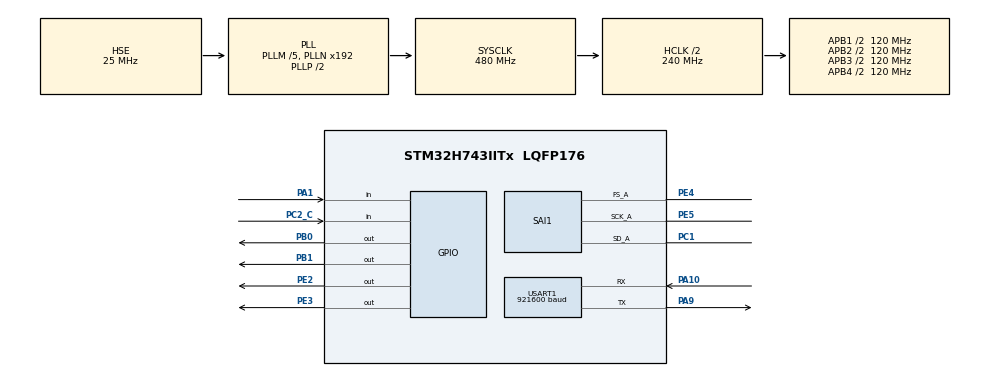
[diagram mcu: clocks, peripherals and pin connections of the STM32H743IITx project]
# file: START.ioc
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CORTEX_M7.default_mode_Activation=1
Dma.Request0=SAI1_A
Dma.SAI1_A.0.Direction=DMA_PERIPH_TO_MEMORY
Dma.SAI1_A.0.EventEnable=DISABLE
Dma.SAI1_A.0.FIFOMode=DMA_FIFOMODE_DISABLE
Dma.SAI1_A.0.Instance=DMA1_Stream0
Dma.SAI1_A.0.MemDataAlignment=DMA_MDATAALIGN_HALFWORD
Dma.SAI1_A.0.MemInc=DMA_MINC_ENABLE
Dma.SAI1_A.0.Mode=DMA_CIRCULAR
Dma.SAI1_A.0.PeriphDataAlignment=DMA_PDATAALIGN_HALFWORD
Dma.SAI1_A.0.PeriphInc=DMA_PINC_DISABLE
Dma.SAI1_A.0.Polarity=HAL_DMAMUX_REQ_GEN_RISING
Dma.SAI1_A.0.Priority=DMA_PRIORITY_VERY_HIGH
Dma.SAI1_A.0.RequestNumber=1
Dma.SAI1_A.0.SignalID=NONE
Dma.SAI1_A.0.SyncEnable=DISABLE
Dma.SAI1_A.0.SyncPolarity=HAL_DMAMUX_SYNC_NO_EVENT
Dma.SAI1_A.0.SyncRequestNumber=1
Dma.SAI1_A.0.SyncSignalID=NONE
FREERTOS.Tasks01=defaultTask,24,256,StartDefaultTask,Default,NULL,Dynamic,NULL,NULL
FREERTOS.configMINIMAL_STACK_SIZE=128
FREERTOS.configTOTAL_HEAP_SIZE=65536
Mcu.Family=STM32H7
Mcu.Name=STM32H743IITx
Mcu.Package=LQFP176
NVIC.DMA1_Stream0_IRQn=true\:5\:0\:false\:false\:true\:true\:false\:true\:true
NVIC.PriorityGroup=NVIC_PRIORITYGROUP_4
NVIC.SAI1_IRQn=true\:5\:0\:false\:false\:true\:true\:true\:true\:true
NVIC.TIM6_DAC_IRQn=true\:15\:0\:false\:false\:true\:false\:false\:true\:true
NVIC.TimeBase=TIM6_DAC_IRQn
NVIC.TimeBaseIP=TIM6
PA1.GPIO_PuPd=GPIO_PULLDOWN
PA1.Signal=GPIO_Input
PA10.Mode=Asynchronous
PA10.Signal=USART1_RX
PA13\ (JTMS/SWDIO).Mode=Serial_Wire
PA13\ (JTMS/SWDIO).Signal=DEBUG_JTMS-SWDIO
PA14\ (JTCK/SWCLK).Mode=Serial_Wire
PA14\ (JTCK/SWCLK).Signal=DEBUG_JTCK-SWCLK
PA9.Mode=Asynchronous
PA9.Signal=USART1_TX
PB0.Signal=GPIO_Output
PB1.Signal=GPIO_Output
PC1.GPIO_PuPd=GPIO_NOPULL
PC1.GPIO_Speed=GPIO_SPEED_FREQ_VERY_HIGH
PC1.Mode=SAI_A_Master
PC1.Signal=SAI1_SD_A
PC14-OSC32_IN\ (OSC32_IN).Mode=LSE-External-Oscillator
PC14-OSC32_IN\ (OSC32_IN).Signal=RCC_OSC32_IN
PC15-OSC32_OUT\ (OSC32_OUT).Mode=LSE-External-Oscillator
PC15-OSC32_OUT\ (OSC32_OUT).Signal=RCC_OSC32_OUT
PC2_C.GPIO_PuPd=GPIO_PULLDOWN
PC2_C.Signal=GPIO_Input
PE2.GPIO_ModeDefaultOutputPP=GPIO_MODE_OUTPUT_OD
PE2.GPIO_PuPd=GPIO_PULLUP
PE2.GPIO_Speed=GPIO_SPEED_FREQ_VERY_HIGH
PE2.PinState=GPIO_PIN_SET
PE2.Signal=GPIO_Output
PE3.GPIO_ModeDefaultOutputPP=GPIO_MODE_OUTPUT_OD
PE3.GPIO_PuPd=GPIO_PULLUP
PE3.GPIO_Speed=GPIO_SPEED_FREQ_VERY_HIGH
PE3.PinState=GPIO_PIN_SET
PE3.Signal=GPIO_Output
PE4.GPIO_Speed=GPIO_SPEED_FREQ_VERY_HIGH
PE4.Mode=SAI_A_Master
PE4.Signal=SAI1_FS_A
PE5.GPIO_Speed=GPIO_SPEED_FREQ_VERY_HIGH
PE5.Mode=SAI_A_Master
PE5.Signal=SAI1_SCK_A
PH0-OSC_IN\ (PH0).Mode=HSE-External-Oscillator
PH0-OSC_IN\ (PH0).Signal=RCC_OSC_IN
PH1-OSC_OUT\ (PH1).Mode=HSE-External-Oscillator
PH1-OSC_OUT\ (PH1).Signal=RCC_OSC_OUT
ProjectManager.HeapSize=0x200
ProjectManager.StackSize=0x400
ProjectManager.TargetToolchain=MDK-ARM V5.32
RCC.ADCFreq_Value=12272727.272727273
RCC.APB1Freq_Value=120000000
RCC.APB2Freq_Value=120000000
RCC.APB3Freq_Value=120000000
RCC.APB4Freq_Value=120000000
RCC.CortexFreq_Value=480000000
RCC.D1PPRE=RCC_APB3_DIV2
RCC.D2PPRE1=RCC_APB1_DIV2
RCC.D2PPRE2=RCC_APB2_DIV2
RCC.D3PPRE=RCC_APB4_DIV2
RCC.DIVM1=5
RCC.DIVM2=5
RCC.DIVM3=2
RCC.DIVN1=192
RCC.DIVN2=108
RCC.DIVN3=12
RCC.DIVP2=44
RCC.DIVP3=1
RCC.DIVQ1=4
RCC.HCLKFreq_Value=240000000
RCC.HPRE=RCC_HCLK_DIV2
RCC.HSE_VALUE=25000000
RCC.PLL2FRACN=0
RCC.PLL3FRACN=0
RCC.PLLFRACN=0
RCC.PLLSourceVirtual=RCC_PLLSOURCE_HSE
RCC.PWR_Regulator_Voltage_Scale=PWR_REGULATOR_VOLTAGE_SCALE0
RCC.SAI1CLockSelection=RCC_SAI1CLKSOURCE_PLL2
RCC.SAI23CLockSelection=RCC_SAI23CLKSOURCE_PLL3
RCC.SYSCLKFreq_VALUE=480000000
RCC.SYSCLKSource=RCC_SYSCLKSOURCE_PLLCLK
RCC.USBFreq_Value=240000000
SAI1.AudioFrequency-SAI_A_Master=SAI_AUDIO_FREQUENCY_48K
SAI1.AudioMode-SAI_A_Master=SAI_MODEMASTER_RX
SAI1.ClockStrobing-SAI_A_Master=SAI_CLOCKSTROBING_FALLINGEDGE
SAI1.DataSize-SAI_A_Master=SAI_DATASIZE_16
SAI1.ErrorAudioFreq-SAI_A_Master=-0.12 %
SAI1.FSOffset-SAI_A_Master=SAI_FS_BEFOREFIRSTBIT
SAI1.FSPolarity-SAI_A_Master=SAI_FS_ACTIVE_HIGH
SAI1.FrameLength-SAI_A_Master=256
SAI1.Instance-SAI_A_Master=SAI$Index_Block_A
SAI1.MClockEnable-SAI_A_Master=SAI_MASTERCLOCK_DISABLE
SAI1.RealAudioFreq-SAI_A_Master=47.94 KHz
SAI1.SlotActive-SAI_A_Master=0x0000FFFF
SAI1.SlotNumber-SAI_A_Master=16
SAI1.SlotSize-SAI_A_Master=SAI_SLOTSIZE_DATASIZE
SAI1.VirtualMode-SAI_A_Master=VM_MASTER
SAI1.VirtualSlotActive-SAI_A_Master=SAI_SLOTACTIVE_ALL
USART1.BaudRate=921600
USART1.VirtualMode-Asynchronous=VM_ASYNC
VP_FREERTOS_VS_CMSIS_V2.Mode=CMSIS_V2
VP_MEMORYMAP_VS_MEMORYMAP.Mode=CurAppReg
VP_SYS_VS_tim6.Mode=TIM6
board=custom

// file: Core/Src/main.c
/* USER CODE BEGIN Header */
/**
 * @file    main.c
 * @brief   STM32H7 声学相机主控入口
 * @details 负责硬件初始化、上电自检、RTOS 启动及关键中断回调注册。
 *
 * 系统架构：
 * - MCU: STM32H743IIT6 @ 480MHz
 * - 音频前端: 2×PCMD3180 (16路 PDM 麦克风)
 * - 显示: 800×480 RGB LCD (LTDC)
 * - 内存: 32MB SDRAM
 * - RTOS: FreeRTOS
 *
 * 启动流程：
 * 1. MPU 配置 (内存保护)
 * 2. HAL 初始化
 * 3. 系统时钟配置 (480MHz)
 * 4. SDRAM 初始化
 * 5. 外设初始化 (GPIO, DMA, USART, SAI)
 * 6. 显示模块初始化
 * 7. 上电自检 (SDRAM 测试)
 * 8. FreeRTOS 启动
 *
 * 主要任务：
 * - PCMD3180InitTask: 一次性初始化任务
 * - Audio_Pipeline_Task: 音频处理流水线
 * - UI_Display_Task: UI 显示任务
 * - StartDefaultTask: 默认空闲任务
 */
/* USER CODE END Header */

#include "main.h"
#include "cmsis_os.h"
#include "dma.h"
#include "sai.h"
#include "usart.h"
#include "gpio.h"

/* USER CODE BEGIN Includes */
#include <stdio.h>
#include "mpu.h"
#include "sdram.h"
#include "app_main_task.h"
#include "app_display.h"
/* USER CODE END Includes */

/* USER CODE BEGIN PD */
/** @brief 启用上电自检 (SDRAM 测试) */
#define ENABLE_BOOT_TESTS 1u
/* USER CODE END PD */

/* USER CODE BEGIN PV */
/** @brief 调试计数：用于观测音频处理帧推进情况 */
volatile int16_t found_val = 0;

/** @brief DMA 帧事件序号（ISR 侧递增，用于丢帧诊断） */
volatile uint32_t g_audio_frame_seq_isr = 0u;
/* USER CODE END PV */

void SystemClock_Config(void);
static void MPU_Config(void);
void MX_FREERTOS_Init(void);

/* USER CODE BEGIN 0 */

/**
 * @brief 使能 I-Cache/D-Cache，并执行同步屏障。
 * @note  仅在对应 Cache 尚未开启时执行开启操作。
 */
static void cpu_cache_enable(void)
{
  if ((SCB->CCR & SCB_CCR_IC_Msk) == 0u)
  {
    SCB_EnableICache();
  }
  if ((SCB->CCR & SCB_CCR_DC_Msk) == 0u)
  {
    SCB_EnableDCache();
  }
  __DSB();
  __ISB();
}

/**
 * @brief   SDRAM 采样读写自检
 * @details 以 4KB 步长对 32MB SDRAM 进行写入/回读一致性校验。
 *
 * 策略说明：
 * - 测试空间：32MB（8M 个 32-bit 字）
 * - 采样步长：1024 字（4KB）
 * - 写入模式：地址索引值
 * - 目标：在可接受启动时延内快速发现 SDRAM 异常
 *
 * @return  0: 测试通过
 *          非 0: 失败字节偏移
 *
 * @note    在 main() 中调用，位于 FreeRTOS 启动前
 */
static uint32_t sdram_test(void)
{
    /* SDRAM 基地址 */
    volatile uint32_t *pSdram = (volatile uint32_t *)BANK5_SDRAM_ADDR;
    uint32_t i;

    /* 32MB / 4B = 8M 个 32-bit 字 */
    const uint32_t test_size = 32u * 1024u * 1024u / 4u;

    /* 步骤 1：按采样步长写入测试模式 */
    for (i = 0u; i < test_size; i += 1024u)
    {
        pSdram[i] = i;
    }

    /* 步骤 2：按相同步长回读校验 */
    for (i = 0u; i < test_size; i += 1024u)
    {
        if (pSdram[i] != i)
        {
            /* 返回失败地址的字节偏移 */
            return i * 4u;
        }
    }

    return 0u;
}

/**
 * @brief   上电自检入口
 * @details 当前仅执行 SDRAM 采样读写测试，并通过串口输出结果。
 *
 * @note    可通过 ENABLE_BOOT_TESTS 控制开关
 * @note    在 main() 中调用，位于 FreeRTOS 启动前
 */
static void app_run_boot_tests(void)
{
#if (ENABLE_BOOT_TESTS != 0u)
    uint32_t sdram_err = sdram_test();

    if (sdram_err == 0u)
    {
        printf("SDRAM Test PASS (32MB @ 0xC0000000)\r\n");
    }
    else
    {
        printf("SDRAM Test FAIL at offset 0x%08lX\r\n", sdram_err);
    }
#endif
}

/* USER CODE END 0 */

/**
 * @brief   应用主入口
 * @details 完成底层硬件初始化后启动 FreeRTOS 调度器。
 *
 * 初始化顺序：
 * 1. MPU 配置 (默认配置，后续会覆盖)
 * 2. HAL 初始化 (中断优先级分组、SysTick)
 * 3. 自定义 MPU 配置 (覆盖默认配置)
 * 4. 系统时钟配置 (480MHz)
 * 5. SDRAM 初始化
 * 6. 外设初始化 (GPIO, DMA, USART, SAI)
 * 7. 显示模块初始化
 * 8. 上电自检
 * 9. FreeRTOS 初始化和启动
 *
 * MPU 配置说明：
 * - MPU_Config() 为 CubeMX 生成的基础配置
 * - App_MPU_Config() 施加工程自定义内存属性
 *
 * 外设顺序说明：
 * - 显示链路先初始化，便于尽早进入可视化状态
 * - SAI 随后初始化，不影响当前启动依赖关系
 *
 * @return  不返回 (FreeRTOS 接管控制权)
 */
int main(void)
{

  /* 步骤 1：应用 CubeMX 默认 MPU 配置 */
  MPU_Config();

  /* 步骤 2：HAL 基础初始化（外设复位、SysTick、NVIC 分组） */
  HAL_Init();

  /* USER CODE BEGIN Init */
  /* 步骤 3：应用工程自定义 MPU 布局并开启 Cache */
  App_MPU_Config();
  cpu_cache_enable();
  /* USER CODE END Init */

  /* 步骤 4：配置系统时钟（SYSCLK 480MHz） */
  SystemClock_Config();

  /* USER CODE BEGIN SysInit */
  /* 步骤 5：初始化外部 SDRAM 控制链路 */
  sdram_init();
  /* USER CODE END SysInit */

  /* 步骤 6：初始化基础外设 */
  MX_GPIO_Init();    /* GPIO 初始化 (LED, 按键等) */
  MX_DMA_Init();     /* DMA 初始化 (SAI DMA) */
  MX_USART1_UART_Init();  /* USART1 初始化 (调试串口) */

  /* 步骤 7：初始化显示链路（LTDC/DMA2D/LCD） */
  App_Display_Init();

  /* 初始化 SAI1 音频接口 */
  MX_SAI1_Init();

  /* USER CODE BEGIN 2 */
  /* 步骤 8：执行上电自检 */
  app_run_boot_tests();

  /* USER CODE END 2 */

  /* 步骤 9：初始化并启动 FreeRTOS */
  osKernelInitialize();

  /* 创建任务、队列、信号量等内核对象 */
  MX_FREERTOS_Init();

  /* 启动调度器，成功后不再返回 */
  osKernelStart();

  /* 正常情况下不会到达这里。
   * LVGL 控件请在 UI 任务中创建，例如 User/App/app_lvgl_ui.c。
   */

  /* Infinite loop */
  while (1)
  {

  }
}

/**
  * @brief 系统时钟配置
  * @retval None
  */
void SystemClock_Config(void)
{
  RCC_OscInitTypeDef RCC_OscInitStruct = {0};
  RCC_ClkInitTypeDef RCC_ClkInitStruct = {0};

  /** 使能电源供电配置更新
  */
  HAL_PWREx_ConfigSupply(PWR_LDO_SUPPLY);

  /** 配置内部稳压器输出电压档位
  */
  __HAL_PWR_VOLTAGESCALING_CONFIG(PWR_REGULATOR_VOLTAGE_SCALE0);

  while(!__HAL_PWR_GET_FLAG(PWR_FLAG_VOSRDY)) {}

  /** 按 RCC_OscInitTypeDef 参数初始化振荡器与 PLL
  */
  RCC_OscInitStruct.OscillatorType = RCC_OSCILLATORTYPE_HSE;
  RCC_OscInitStruct.HSEState = RCC_HSE_ON;
  RCC_OscInitStruct.PLL.PLLState = RCC_PLL_ON;
  RCC_OscInitStruct.PLL.PLLSource = RCC_PLLSOURCE_HSE;
  RCC_OscInitStruct.PLL.PLLM = 5;
  RCC_OscInitStruct.PLL.PLLN = 192;
  RCC_OscInitStruct.PLL.PLLP = 2;
  RCC_OscInitStruct.PLL.PLLQ = 4;  /* PLL1Q = 960/4 = 240 MHz, SDMMC 内核时钟 — 勿改为 1 */
  RCC_OscInitStruct.PLL.PLLR = 2;
  RCC_OscInitStruct.PLL.PLLRGE = RCC_PLL1VCIRANGE_2;
  RCC_OscInitStruct.PLL.PLLVCOSEL = RCC_PLL1VCOWIDE;
  RCC_OscInitStruct.PLL.PLLFRACN = 0;
  if (HAL_RCC_OscConfig(&RCC_OscInitStruct) != HAL_OK)
  {
    Error_Handler();
  }

  /** 初始化 CPU、AHB 与 APB 总线时钟
  */
  RCC_ClkInitStruct.ClockType = RCC_CLOCKTYPE_HCLK|RCC_CLOCKTYPE_SYSCLK
                              |RCC_CLOCKTYPE_PCLK1|RCC_CLOCKTYPE_PCLK2
                              |RCC_CLOCKTYPE_D3PCLK1|RCC_CLOCKTYPE_D1PCLK1;
  RCC_ClkInitStruct.SYSCLKSource = RCC_SYSCLKSOURCE_PLLCLK;
  RCC_ClkInitStruct.SYSCLKDivider = RCC_SYSCLK_DIV1;
  RCC_ClkInitStruct.AHBCLKDivider = RCC_HCLK_DIV2;
  RCC_ClkInitStruct.APB3CLKDivider = RCC_APB3_DIV2;
  RCC_ClkInitStruct.APB1CLKDivider = RCC_APB1_DIV2;
  RCC_ClkInitStruct.APB2CLKDivider = RCC_APB2_DIV2;
  RCC_ClkInitStruct.APB4CLKDivider = RCC_APB4_DIV2;

  if (HAL_RCC_ClockConfig(&RCC_ClkInitStruct, FLASH_LATENCY_4) != HAL_OK)
  {
    Error_Handler();
  }
}

/* USER CODE BEGIN 4 */
/**
 * @brief   在 ISR 中推送音频半帧事件
 * @details 使用覆盖写方式向单深度队列发布最新 DMA 半帧状态。
 *
 * 设计要点：
 * - 队列长度固定为 1，仅保留最新事件
 * - 事件携带 half_id 与递增序号 seq
 * - ISR 不阻塞；队列异常时仅记录计数
 *
 * @param   half_id  DMA 半缓冲标识（PING=0，PONG=1）
 *
 * @note    该函数运行于中断上下文，必须保持短路径执行
 */
static void Audio_FrameEvent_Push_FromISR(uint8_t half_id)
{
    /* 标记是否需要在退出 ISR 时触发任务切换 */
    BaseType_t xHigherPriorityTaskWoken = pdFALSE;

    /* 组装事件载荷 */
    Audio_FrameEvent_t event;
    event.half_id = half_id;
    event.reserved[0] = 0u;         /* 预留字段，保持结构体对齐 */
    event.reserved[1] = 0u;
    event.reserved[2] = 0u;
    event.seq = ++g_audio_frame_seq_isr;

    /* 队列存在则覆盖写入最新事件 */
    if (xAudioFrameQueue != NULL)
    {
        if (xQueueOverwriteFromISR(xAudioFrameQueue, &event, &xHigherPriorityTaskWoken) != pdPASS)
        {
            /* 异常：发送失败，记录统计 */
            g_audio_no_flag_count++;
        }
    }
    else
    {
        /* 启动阶段队列未创建，记录统计 */
        g_audio_no_flag_count++;
    }

    /* 若唤醒了高优先级任务，申请在 ISR 退出时切换 */
    portYIELD_FROM_ISR(xHigherPriorityTaskWoken);
}

/**
 * @brief   SAI DMA 半传输完成回调
 * @details 前半缓冲写满后上报 PING 事件，驱动音频任务处理对应半帧。
 *
 * @param   hsai  SAI 句柄（未使用）
 *
 * @note    运行于 DMA 中断上下文
 */
void HAL_SAI_RxHalfCpltCallback(SAI_HandleTypeDef *hsai)
{
    (void)hsai;

    /* 上报前半缓冲就绪 */
    Audio_FrameEvent_Push_FromISR(AUDIO_DMA_HALF_PING);
}

/**
 * @brief   SAI DMA 全传输完成回调
 * @details 后半缓冲写满后上报 PONG 事件，驱动音频任务处理对应半帧。
 *
 * @param   hsai  SAI 句柄（未使用）
 *
 * @note    运行于 DMA 中断上下文
 */
void HAL_SAI_RxCpltCallback(SAI_HandleTypeDef *hsai)
{
    (void)hsai;

    /* 上报后半缓冲就绪 */
    Audio_FrameEvent_Push_FromISR(AUDIO_DMA_HALF_PONG);
}
/* USER CODE END 4 */

/**
 * @brief   MPU 基础配置（CubeMX 生成）
 * @details 先建立默认保护区，随后由 App_MPU_Config() 细化/覆盖。
 *
 * @note    该函数保留 CubeMX 生成结构，便于后续自动化维护
 */
void MPU_Config(void)
{
  MPU_Region_InitTypeDef MPU_InitStruct = {0};

  /* 配置前先关闭 MPU */
  HAL_MPU_Disable();

  /* Region 0：4GB 地址空间默认禁止访问 */
  MPU_InitStruct.Enable = MPU_REGION_ENABLE;
  MPU_InitStruct.Number = MPU_REGION_NUMBER0;
  MPU_InitStruct.BaseAddress = 0x0;
  MPU_InitStruct.Size = MPU_REGION_SIZE_4GB;
  MPU_InitStruct.SubRegionDisable = 0x87;
  MPU_InitStruct.TypeExtField = MPU_TEX_LEVEL0;
  MPU_InitStruct.AccessPermission = MPU_REGION_NO_ACCESS;
  MPU_InitStruct.DisableExec = MPU_INSTRUCTION_ACCESS_DISABLE;
  MPU_InitStruct.IsShareable = MPU_ACCESS_SHAREABLE;
  MPU_InitStruct.IsCacheable = MPU_ACCESS_NOT_CACHEABLE;
  MPU_InitStruct.IsBufferable = MPU_ACCESS_NOT_BUFFERABLE;

  HAL_MPU_ConfigRegion(&MPU_InitStruct);

  /* 重新启用 MPU */
  HAL_MPU_Enable(MPU_PRIVILEGED_DEFAULT);
}

/**
 * @brief   HAL 定时器周期回调
 * @details 当 TIM6 更新中断到来时递增 HAL 时基计数。
 *
 * @param   htim  定时器句柄
 *
 * @note    FreeRTOS 占用 SysTick，HAL 时基改由 TIM6 提供
 */
void HAL_TIM_PeriodElapsedCallback(TIM_HandleTypeDef *htim)
{

  /* 仅处理 TIM6 作为 HAL Tick 源 */
  if (htim->Instance == TIM6)
  {
    /* 递增 HAL Tick */
    HAL_IncTick();
  }

}

/**
 * @brief   通用错误处理
 * @details 关闭中断并停机，便于调试器接管现场。
 *
 * @note    可在 USER CODE 区扩展日志或错误指示
 */
void Error_Handler(void)
{
  /* USER CODE BEGIN Error_Handler_Debug */
  /* 可在此添加项目自定义错误处理，例如 LED/串口告警 */

  /* 锁定系统状态，避免错误继续扩散 */
  __disable_irq();

  /* 停机等待调试 */
  while (1)
  {
    /* 可在此输出错误码或做故障灯闪烁 */
  }
  /* USER CODE END Error_Handler_Debug */
}

#ifdef USE_FULL_ASSERT
/**
 * @brief   断言失败处理
 * @details 在启用 USE_FULL_ASSERT 时报告断言位置并停机。
 *
 * @param   file  触发断言的源文件名
 * @param   line  触发断言的行号
 *
 * @note    可在 USER CODE 区添加串口打印或告警指示
 */
void assert_failed(uint8_t *file, uint32_t line)
{
  /* USER CODE BEGIN 6 */
  /* 可在此添加断言日志输出 */

  /* 当前未使用参数，避免编译警告 */
  (void)file;
  (void)line;

  /* 停机等待调试 */
  while (1)
  {
    /* 可在此输出断言错误信息 */
  }
  /* USER CODE END 6 */
}
#endif /* USE_FULL_ASSERT */

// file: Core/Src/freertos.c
/* USER CODE BEGIN Header */
/**
 * @file    freertos.c
 * @brief   FreeRTOS 应用入口与任务编排
 * @details 负责创建基础线程，并启动一次性音频初始化流程
 *
 * 全局启动时序：
 * 1. MX_FREERTOS_Init() 创建 defaultTask 与 PCMD3180InitTask
 * 2. PCMD3180InitTask() 完成外设与音频链路初始化后自删除
 * 3. StartDefaultTask() 常驻运行，作为保留空闲任务
 *
 * 线程安全约定：
 * - I2C 总线访问依赖 Soft_I2C_Init() 内部互斥量保护
 * - 本文件不直接共享可变全局状态，不引入额外锁
 * - 初始化任务仅执行一次，避免重复初始化同一硬件资源
 */
/* USER CODE END Header */

#include "FreeRTOS.h"
#include "task.h"
#include "semphr.h"
#include "main.h"
#include "cmsis_os.h"

/* USER CODE BEGIN Includes */
#include "pcmd3180.h"
#include "soft_i2c.h"
#include "app_camera.h"
#include "app_data_stream.h"
#include "app_main_task.h"
#include "app_boot_diag.h"
#include "app_touch.h"
/* USER CODE END Includes */

/* USER CODE BEGIN PD */
/* FreeRTOS 相关编译期开关预留区 */
#define APP_DEFAULT_TASK_PRIO        1u
#define APP_DEFAULT_TASK_STACK_WORDS 256u
#define APP_INIT_TASK_PRIO           6u
/* USER CODE END PD */

/* USER CODE BEGIN Variables */
/** @brief SAI 句柄 (外部定义) */
extern SAI_HandleTypeDef hsai_BlockA1;
extern SemaphoreHandle_t txMutex;
static volatile uint32_t s_boot_diag_stage = APP_BOOT_DIAG_STAGE_IDLE;
static volatile uint32_t s_boot_diag_stack_hwm_words = 0u;
static volatile uint8_t s_boot_diag_completed = 0u;
/* USER CODE END Variables */

/* Definitions for defaultTask */
TaskHandle_t defaultTaskHandle = NULL;

/* USER CODE BEGIN FunctionPrototypes */
void PCMD3180InitTask(void *argument);
static void s_boot_diag_mark(App_BootDiag_Stage_t stage, uint8_t completed);
void App_BootDiag_GetStatus(App_BootDiag_Status_t *status);
const char *App_BootDiag_StageName(uint32_t stage);
/* USER CODE END FunctionPrototypes */

void StartDefaultTask(void *argument);

void MX_FREERTOS_Init(void); /* (MISRA C 2004 rule 8.1) */

static void s_boot_diag_mark(App_BootDiag_Stage_t stage, uint8_t completed)
{
  UBaseType_t stack_hwm = 0u;

  s_boot_diag_stage = (uint32_t)stage;
  s_boot_diag_completed = completed;

  if (xTaskGetSchedulerState() != taskSCHEDULER_NOT_STARTED)
  {
    stack_hwm = uxTaskGetStackHighWaterMark(NULL);
    s_boot_diag_stack_hwm_words = (uint32_t)stack_hwm;
  }
}

void App_BootDiag_GetStatus(App_BootDiag_Status_t *status)
{
  uint32_t primask;

  if (status == NULL)
  {
    return;
  }

  primask = __get_PRIMASK();
  __disable_irq();
  status->stage = s_boot_diag_stage;
  status->stack_high_water_words = s_boot_diag_stack_hwm_words;
  status->completed = s_boot_diag_completed;
  if (primask == 0u)
  {
    __enable_irq();
  }
}

const char *App_BootDiag_StageName(uint32_t stage)
{
  switch ((App_BootDiag_Stage_t)stage)
  {
    case APP_BOOT_DIAG_STAGE_SOFT_I2C:     return "soft_i2c";
    case APP_BOOT_DIAG_STAGE_APP_STREAM:   return "app_stream";
    case APP_BOOT_DIAG_STAGE_APP_TASK:     return "app_task";
    case APP_BOOT_DIAG_STAGE_SAI_DMA:      return "sai_dma";
    case APP_BOOT_DIAG_STAGE_CLOCK_WAIT:   return "clock_wait";
    case APP_BOOT_DIAG_STAGE_PCMD0:        return "pcmd0";
    case APP_BOOT_DIAG_STAGE_PCMD1:        return "pcmd1";
    case APP_BOOT_DIAG_STAGE_CAMERA_INIT:  return "camera_init";
    case APP_BOOT_DIAG_STAGE_CAMERA_START: return "camera_start";
    case APP_BOOT_DIAG_STAGE_DONE:         return "done";
    case APP_BOOT_DIAG_STAGE_IDLE:
    default:
      return "idle";
  }
}

/**
 * @brief   FreeRTOS 初始化
 * @details 创建系统基础线程，并派发一次性初始化任务
 *
 * 初始化顺序：
 * 1. 创建默认任务（低负载保留线程）
 * 2. 创建 PCMD3180 初始化任务（高优先级、一次性）
 *
 * @note    在 main() 中调用，位于内核调度启动前
 * @note    本函数仅负责“创建任务”，不执行耗时硬件初始化
 */
void MX_FREERTOS_Init(void)
{
  BaseType_t task_ok;

  /* USER CODE BEGIN RTOS_MUTEX */
  if (txMutex == NULL)
  {
    txMutex = xSemaphoreCreateMutex();
    configASSERT(txMutex != NULL);
  }
  /* USER CODE END RTOS_MUTEX */

  /* Create the low-priority background task using raw FreeRTOS priority units.
   * Mixing CMSIS-RTOS priorities with xTaskCreate() priorities can starve the
   * UI task if a bring-up task stalls. */
  task_ok = xTaskCreate(StartDefaultTask,
                        "defaultTask",
                        APP_DEFAULT_TASK_STACK_WORDS,
                        NULL,
                        APP_DEFAULT_TASK_PRIO,
                        &defaultTaskHandle);
  configASSERT(task_ok == pdPASS);

  /* USER CODE BEGIN RTOS_THREADS */
  /**
   * PCMD3180InitTask 职责边界：
   * 1. 在 RTOS 上下文完成软 I2C 初始化（含互斥量）
   * 2. 初始化音频算法状态（FFT/SRP-PHAT）
   * 3. 创建音频与 UI 工作任务
   * 4. 启动 SAI DMA，等待时钟稳定后配置双芯片 PCMD3180
   *
   * 时序与并发约束：
   * - 软 I2C 依赖内核对象，必须在调度启动后执行
   * - 先创建工作任务，再启动 DMA，确保消费者已就绪
   * - PCMD3180 配置依赖 I2C 与稳定 BCLK/FSYNC，不可提前
   *
   * 优先级：原生 FreeRTOS 6（高于 Audio/UI，优先完成一次性上电初始化）
   * 堆栈：1024 字（覆盖 HAL 初始化与摄像头启动路径）
   * 生命周期：一次性任务，完成后自删除
   */
  task_ok = xTaskCreate(PCMD3180InitTask, "PCMD3180Init", 1024, NULL, APP_INIT_TASK_PRIO, NULL);
  configASSERT(task_ok == pdPASS);
  /* USER CODE END RTOS_THREADS */

}

/* USER CODE BEGIN Header_StartDefaultTask */
/**
 * @brief   默认保留任务
 * @details 低优先级常驻线程，当前仅周期延时
 *
 * 当前职责：
 * - 提供可观测的空闲循环占位
 * - 为后续低实时性功能预留挂载点
 *
 * @param   argument  任务参数 (未使用)
 *
 * @note    优先级：原生 FreeRTOS 1（始终低于 Audio/UI/Init）
 * @note    不访问共享可变资源，无额外线程安全要求
 */
/* USER CODE END Header_StartDefaultTask */
void StartDefaultTask(void *argument)
{
  /* USER CODE BEGIN StartDefaultTask */
  (void)argument;

  /* 任务主循环 */
  for (;;)
  {
    /* 延迟 1 秒 */
    osDelay(1000);

  }
  /* USER CODE END StartDefaultTask */
}

/* USER CODE BEGIN Application */
/**
 * @brief   PCMD3180 初始化任务
 * @details 一次性初始化任务，按既定时序完成音频链路上电
 *
 * 初始化流程：
 * 1. 初始化软 I2C（建立总线互斥保护）
 * 2. 初始化音频数据流状态（FFT、SRP-PHAT）
 * 3. 启动 SAI DMA（连续输出 BCLK/FSYNC）
 * 4. 延迟 1 秒等待时钟稳定
 * 5. 配置两颗 PCMD3180
 * 6. 初始化并启动摄像头
 * 7. 任务自删除
 *
 * 关键时序原因：
 * - SAI 为主模式，时钟由 MCU 侧输出
 * - PCMD3180 依赖外部 BCLK/FSYNC 进入稳定工作态
 * - 先启 DMA 再配芯片，可降低上电初期失配风险
 *
 * 设备映射：
 * - 芯片 A (地址 0x4C): TDM slot 0-7
 * - 芯片 B (地址 0x4D): TDM slot 8-15
 * - 每颗芯片 8 路 PDM 输入，输出 8 路 TDM
 *
 * 线程安全说明：
 * - I2C 访问通过 Soft_I2C_Init() 建立的互斥量串行化
 * - 本任务为单次执行，不与自身并发重入
 * - DMA 启动后的数据并发由后续音频任务处理
 *
 * @param   argument  任务参数 (未使用)
 *
 * @note    优先级：原生 FreeRTOS 3
 * @note    堆栈：512 字
 * @note    生命周期：一次性任务，完成后自删除
 */
void PCMD3180InitTask(void *argument)
{
  (void)argument;

  /* 步骤 1: 初始化软 I2C（创建并启用总线互斥量） */
  s_boot_diag_mark(APP_BOOT_DIAG_STAGE_SOFT_I2C, 0u);
  Soft_I2C_Init();
  App_Touch_Init();

  /* 步骤 2: 初始化音频算法运行态（RFFT/Hanning/SRP-PHAT） */
  s_boot_diag_mark(APP_BOOT_DIAG_STAGE_APP_STREAM, 0u);
  App_Stream_Init();

  /* 步骤 3: 创建音频与 UI 工作任务（稍后在本任务让出 CPU 后开始运行） */
  App_Task_Init();
  s_boot_diag_mark(APP_BOOT_DIAG_STAGE_APP_TASK, 0u);

  /* 步骤 4: 启动 SAI DMA，开始稳定输出采样时钟 */
  /**
   * DMA 连续接收麦克风 TDM 数据，采用循环模式
   * Mic_Rx_Buffer 为双缓冲，配合半传输/全传输中断消费
   *
   * 参数：
   * - hsai_BlockA1: SAI 句柄
   * - Mic_Rx_Buffer: DMA 缓冲区（PING/PONG）
   * - DMA_BUFFER_SIZE: 缓冲大小（16ch x 256 x 2 = 8192）
   */
  s_boot_diag_mark(APP_BOOT_DIAG_STAGE_SAI_DMA, 0u);
  if (HAL_SAI_Receive_DMA(&hsai_BlockA1, (uint8_t *)Mic_Rx_Buffer, DMA_BUFFER_SIZE) != HAL_OK)
  {
    Error_Handler();
  }

  /* 步骤 5: 等待时钟稳定，避免 PCMD3180 在边沿抖动期配置 */
  s_boot_diag_mark(APP_BOOT_DIAG_STAGE_CLOCK_WAIT, 0u);
  vTaskDelay(pdMS_TO_TICKS(1000));

  /* 步骤 6: 配置双 PCMD3180，建立 16 路麦克风到 TDM slot 映射 */
  /**
   * 双芯片配置：
   * - 芯片 A (地址 0x4C): TDM slot 0-7 (麦克风 0-7)
   * - 芯片 B (地址 0x4D): TDM slot 8-15 (麦克风 8-15)
   *
   * 关键参数：
   * - TDM 模式：16 slot, 16-bit
   * - 采样率：48kHz
   * - PDM 时钟：3.072MHz
   * - 增益：默认 0dB
   */
  s_boot_diag_mark(APP_BOOT_DIAG_STAGE_PCMD0, 0u);
  PCMD3180_Init_Device(PCMD3180_ADDR_0, 0);   /* 芯片 A, slot 0 起 */
  s_boot_diag_mark(APP_BOOT_DIAG_STAGE_PCMD1, 0u);
  PCMD3180_Init_Device(PCMD3180_ADDR_1, 8);   /* 芯片 B, slot 8 起 */

  /* 步骤 7: 初始化并启动摄像头，然后自删除初始化任务 */
  s_boot_diag_mark(APP_BOOT_DIAG_STAGE_CAMERA_INIT, 0u);
  App_Camera_Init();
  s_boot_diag_mark(APP_BOOT_DIAG_STAGE_CAMERA_START, 0u);
  App_Camera_Start();
  s_boot_diag_mark(APP_BOOT_DIAG_STAGE_DONE, 1u);
  I2C_Scan();
  vTaskDelete(NULL);
}
/* USER CODE END Application */
